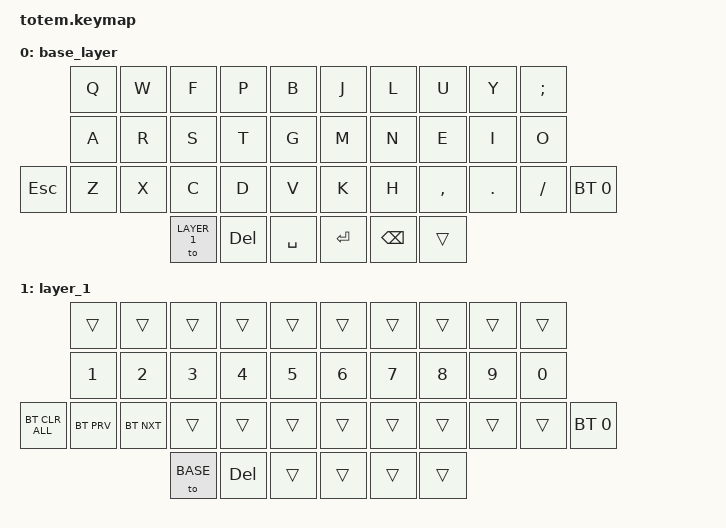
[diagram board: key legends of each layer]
#include <behaviors.dtsi>
#include <dt-bindings/zmk/keys.h>
#include <dt-bindings/zmk/bt.h>
#include <dt-bindings/zmk/outputs.h>

#define BASE 0
#define LAYER_1 1


/ {



        keymap {
                compatible = "zmk,keymap";

base_layer {
        bindings = <
                &kp Q       &kp W       &kp F       &kp P       &kp B           &kp J       &kp L       &kp U       &kp Y       &kp SEMI
                &kp A       &kp R       &kp S       &kp T       &kp G           &kp M       &kp N       &kp E       &kp I       &kp O 
    &kp ESC     &kp Z       &kp X       &kp C       &kp D       &kp V           &kp K       &kp H       &kp COMMA   &kp DOT     &kp FSLH    &bt BT_SEL 0
                                        &to LAYER_1 &kp DEL   &kp SPACE          &kp RET      &kp BSPC    &trans
                        >;
                };
layer_1 {
        bindings = <
                &trans       &trans       &trans       &trans       &trans           &trans       &trans       &trans       &trans       &trans
                &kp N1       &kp N2       &kp N3       &kp N4       &kp N5           &kp N6       &kp N7       &kp N8       &kp N9       &kp N0 
    &bt BT_CLR_ALL     &bt BT_PRV       &bt BT_NXT       &trans       &trans       &trans           &trans       &trans       &trans   &trans     &trans    &bt BT_SEL 0
                                       &to BASE &kp DEL   &trans          &trans      &trans    &trans
                        >;
                };
        };
};
